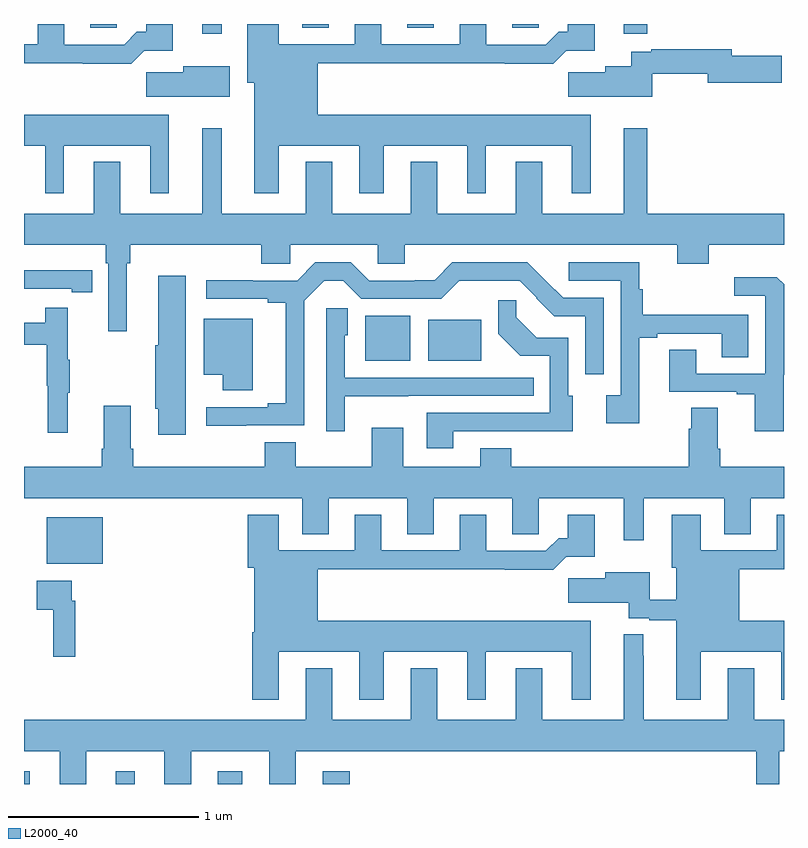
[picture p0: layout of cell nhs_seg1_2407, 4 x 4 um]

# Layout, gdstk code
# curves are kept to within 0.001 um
import gdstk
lib = gdstk.Library(unit=1e-6, precision=1e-09)
def R(c, l, rs):  # rectangles x0, y0, x1, y1
    for r in rs: c.add(gdstk.rectangle(r[:2], r[2:], *l))
def P(c, l, *ps):  # polygons
    for p in ps: c.add(gdstk.Polygon(p, *l))
L2000_40 = (2000, 40)

nhs_seg1_2407 = lib.new_cell('nhs_seg1_2407')
R(nhs_seg1_2407, L2000_40, [(241,578.199,241.03,578.266), (241.484,578.199,241.582,578.266), (242.021,578.199,242.149,578.266), (242.573,578.199,242.714,578.266), (241.121,579.359,241.414,579.604), (242.795,580.427,243.034,580.663), (243.128,580.427,243.406,580.642), (241.937,582.147,242.041,582.199), (244.157,582.147,244.279,582.199), (241.349,582.178,241.488,582.199), (242.465,582.178,242.605,582.199), (243.017,582.178,243.157,582.199), (243.569,582.178,243.708,582.199)])
P(nhs_seg1_2407, L2000_40, [(241.634,582.059),(241.783,582.059),(241.783,582.199),(241.643,582.199),(241.643,582.157),(241.594,582.157),(241.527,582.09),(241.213,582.09),(241.213,582.199),(241.073,582.199),(241.073,582.093),(241,582.093),(241,581.992),(241.309,581.992),(241.309,581.99),(241.565,581.99)],
  [(242.341,581.558),(242.765,581.558),(242.765,581.307),(242.893,581.307),(242.893,581.558),(243.332,581.558),(243.332,581.307),(243.43,581.307),(243.43,581.558),(243.884,581.558),(243.884,581.307),(243.982,581.307),(243.982,581.722),(242.545,581.722),(242.545,581.992),(243.529,581.992),(243.529,581.99),(243.785,581.99),(243.854,582.059),(244.003,582.059),(244.003,582.199),(243.863,582.199),(243.863,582.157),(243.814,582.157),(243.747,582.09),(243.433,582.09),(243.433,582.199),(243.293,582.199),(243.293,582.093),(242.881,582.093),(242.881,582.199),(242.741,582.199),(242.741,582.093),(242.341,582.093),(242.341,582.199),(242.174,582.199),(242.174,581.891),(242.213,581.891),(242.213,581.307),(242.341,581.307)],
  [(244.306,581.938),(244.598,581.938),(244.598,581.891),(244.987,581.891),(244.987,582.033),(244.726,582.033),(244.726,582.067),(244.3,582.067),(244.3,582.054),(244.196,582.054),(244.196,581.977),(244.058,581.977),(244.058,581.945),(243.864,581.945),(243.864,581.816),(244.306,581.816)],
  [(242.083,581.977),(241.838,581.977),(241.838,581.945),(241.644,581.945),(241.644,581.816),(242.083,581.816)],
  [(241.21,581.558),(241.664,581.558),(241.664,581.307),(241.762,581.307),(241.762,581.722),(241,581.722),(241,581.558),(241.112,581.558),(241.112,581.307),(241.21,581.307)],
  [(241.54,580.94),(241.559,580.94),(241.559,581.036),(242.249,581.036),(242.249,580.938),(242.4,580.938),(242.4,581.036),(242.862,581.036),(242.862,580.938),(243.004,580.938),(243.004,581.036),(244.439,581.036),(244.439,580.937),(244.603,580.937),(244.603,581.036),(245,581.036),(245,581.2),(244.279,581.2),(244.279,581.65),(244.157,581.65),(244.157,581.2),(243.727,581.2),(243.727,581.473),(243.587,581.473),(243.587,581.2),(243.175,581.2),(243.175,581.473),(243.035,581.473),(243.035,581.2),(242.623,581.2),(242.623,581.473),(242.483,581.473),(242.483,581.2),(242.041,581.2),(242.041,581.65),(241.937,581.65),(241.937,581.2),(241.507,581.2),(241.507,581.473),(241.367,581.473),(241.367,581.2),(241,581.2),(241,581.036),(241.43,581.036),(241.43,580.94),(241.443,580.94),(241.443,580.581),(241.54,580.581)],
  [(242.171,580.086),(242.475,580.086),(242.475,580.743),(242.579,580.847),(242.68,580.847),(242.775,580.752),(243.195,580.752),(243.29,580.847),(243.609,580.848),(243.699,580.758),(243.697,580.756),(243.791,580.662),(243.954,580.662),(243.954,580.356),(244.05,580.356),(244.05,580.758),(243.837,580.758),(243.649,580.944),(243.255,580.944),(243.161,580.85),(243.056,580.85),(243.056,580.848),(242.817,580.848),(242.721,580.944),(242.534,580.944),(242.438,580.848),(242.205,580.848),(242.205,580.85),(241.959,580.85),(241.959,580.752),(242.282,580.752),(242.282,580.732),(242.378,580.732),(242.378,580.202),(242.282,580.202),(242.282,580.182),(241.959,580.182),(241.959,580.085)],
  [(244.237,580.549),(244.333,580.549),(244.333,580.569),(244.673,580.569),(244.673,580.444),(244.813,580.444),(244.813,580.67),(244.256,580.67),(244.256,580.802),(244.238,580.802),(244.238,580.944),(243.867,580.944),(243.867,580.848),(244.14,580.848),(244.14,580.246),(244.065,580.246),(244.065,580.098),(244.237,580.098)],
  [(241.358,580.902),(241.25,580.902),(241.25,580.903),(241,580.903),(241,580.806),(241.25,580.806),(241.25,580.786),(241.358,580.786)],
  [(241.852,580.873),(241.706,580.873),(241.706,580.509),(241.691,580.509),(241.691,580.173),(241.706,580.173),(241.706,580.038),(241.852,580.038)],
  [(244.998,580.352),(245,580.352),(245,580.828),(244.961,580.867),(244.737,580.867),(244.737,580.77),(244.902,580.77),(244.902,580.359),(244.537,580.359),(244.537,580.484),(244.397,580.484),(244.397,580.263),(244.751,580.263),(244.751,580.251),(244.847,580.251),(244.847,580.056),(244.998,580.056)],
  [(243.259,580.056),(243.889,580.055),(243.889,580.242),(243.864,580.242),(243.864,580.548),(243.698,580.548),(243.59,580.656),(243.59,580.744),(243.495,580.744),(243.495,580.568),(243.611,580.452),(243.768,580.452),(243.768,580.152),(243.119,580.152),(243.119,579.966),(243.259,579.966)],
  [(241.229,580.259),(241.24,580.259),(241.24,580.433),(241.229,580.433),(241.229,580.705),(241.111,580.705),(241.111,580.626),(241,580.626),(241,580.51),(241.119,580.51),(241.119,580.296),(241.126,580.296),(241.126,580.047),(241.229,580.047)],
  [(242.689,580.241),(243.023,580.241),(243.023,580.242),(243.683,580.242),(243.683,580.338),(242.688,580.338),(242.688,580.56),(242.704,580.56),(242.704,580.703),(242.592,580.703),(242.592,580.056),(242.689,580.056)],
  [(242.203,580.648),(241.946,580.648),(241.946,580.352),(242.045,580.352),(242.045,580.272),(242.203,580.272)],
  [(244.261,579.704),(244.685,579.704),(244.685,579.514),(244.825,579.514),(244.825,579.704),(245,579.704),(245,579.868),(244.664,579.868),(244.664,579.964),(244.651,579.964),(244.651,580.178),(244.511,580.178),(244.511,580.07),(244.499,580.07),(244.499,579.868),(243.565,579.868),(243.565,579.967),(243.401,579.967),(243.401,579.868),(242.995,579.868),(242.995,580.075),(242.831,580.075),(242.831,579.868),(242.431,579.868),(242.431,579.997),(242.267,579.997),(242.267,579.868),(241.574,579.868),(241.574,579.964),(241.561,579.964),(241.561,580.189),(241.421,580.189),(241.421,579.964),(241.409,579.964),(241.409,579.868),(241,579.868),(241,579.704),(242.465,579.704),(242.465,579.514),(242.605,579.514),(242.605,579.704),(243.017,579.704),(243.017,579.514),(243.157,579.514),(243.157,579.704),(243.569,579.704),(243.569,579.514),(243.708,579.514),(243.708,579.704),(244.157,579.704),(244.157,579.483),(244.261,579.483)],
  [(244.561,578.894),(244.985,578.894),(244.985,578.643),(245,578.643),(245,579.058),(244.765,579.058),(244.765,579.328),(245,579.328),(245,579.616),(244.961,579.616),(244.961,579.429),(244.561,579.429),(244.561,579.616),(244.409,579.616),(244.409,579.336),(244.433,579.336),(244.433,579.169),(244.294,579.169),(244.294,579.313),(244.058,579.313),(244.058,579.281),(243.864,579.281),(243.864,579.152),(244.184,579.152),(244.184,579.072),(244.29,579.072),(244.29,579.061),(244.433,579.061),(244.433,578.643),(244.561,578.643)],
  [(242.341,578.894),(242.765,578.894),(242.765,578.643),(242.893,578.643),(242.893,578.894),(243.332,578.894),(243.332,578.643),(243.43,578.643),(243.43,578.894),(243.884,578.894),(243.884,578.643),(243.982,578.643),(243.982,579.058),(242.545,579.058),(242.545,579.328),(243.529,579.328),(243.529,579.326),(243.785,579.326),(243.854,579.395),(244.003,579.395),(244.003,579.616),(243.863,579.616),(243.863,579.493),(243.814,579.493),(243.747,579.426),(243.433,579.426),(243.433,579.616),(243.293,579.616),(243.293,579.429),(242.881,579.429),(242.881,579.616),(242.741,579.616),(242.741,579.429),(242.341,579.429),(242.341,579.616),(242.177,579.616),(242.177,579.336),(242.213,579.336),(242.213,578.998),(242.201,578.998),(242.201,578.643),(242.341,578.643)],
  [(241.271,579.164),(241.251,579.164),(241.251,579.268),(241.068,579.268),(241.068,579.116),(241.154,579.116),(241.154,578.868),(241.271,578.868)],
  [(241.327,578.372),(241.739,578.372),(241.739,578.199),(241.879,578.199),(241.879,578.372),(242.291,578.372),(242.291,578.199),(242.431,578.199),(242.431,578.372),(244.854,578.372),(244.854,578.199),(244.975,578.199),(244.975,578.372),(245,578.372),(245,578.536),(244.843,578.536),(244.843,578.809),(244.703,578.809),(244.703,578.536),(244.261,578.536),(244.261,578.873),(244.26,578.873),(244.26,578.986),(244.157,578.986),(244.157,578.536),(243.727,578.536),(243.727,578.809),(243.587,578.809),(243.587,578.536),(243.175,578.536),(243.175,578.809),(243.035,578.809),(243.035,578.536),(242.623,578.536),(242.623,578.809),(242.483,578.809),(242.483,578.536),(241,578.536),(241,578.372),(241.187,578.372),(241.187,578.199),(241.327,578.199)])

lib.write_gds('nhs_seg1_2407.gds')
